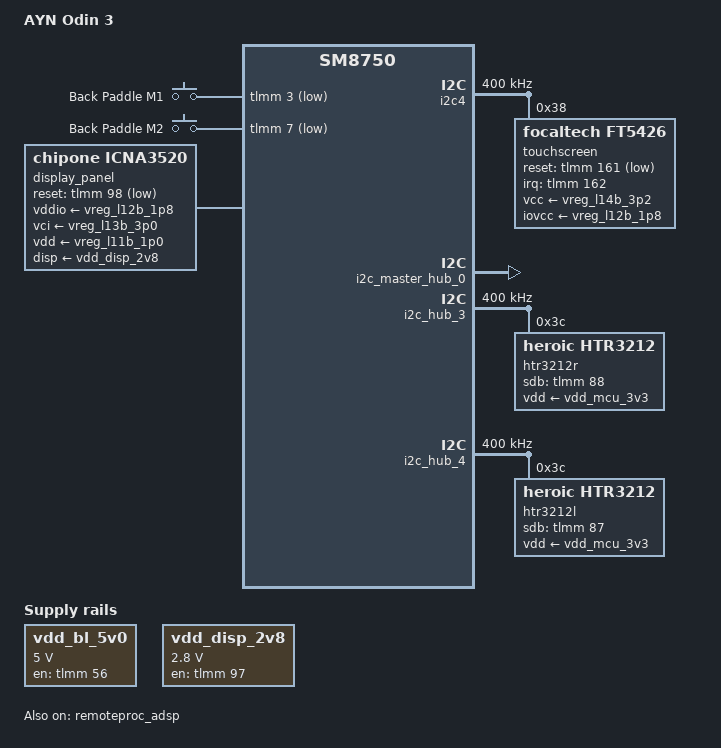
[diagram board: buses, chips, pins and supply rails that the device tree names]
// SPDX-License-Identifier: BSD-3-Clause
/*
 * Copyright (c) 2026 Teguh Sobirin.
 */

/dts-v1/;

#include "cq8725s-ayn-common.dtsi"

/ {
	model = "AYN Odin 3";
	compatible = "ayn,odin3", "qcom,cq8725s", "qcom,sm8750-mtp", "qcom,sm8750";

	vdd_bl_5v0: vdd-bl-5v0-regulator {
		compatible = "regulator-fixed";
		regulator-name = "vdd_bl_5v0";

		regulator-min-microvolt = <5000000>;
		regulator-max-microvolt = <5000000>;

		gpio = <&tlmm 56 GPIO_ACTIVE_HIGH>;
		enable-active-high;
	};

	vdd_disp_2v8: vdd-disp-2v8-regulator {
		compatible = "regulator-fixed";
		regulator-name = "vdd_disp_2v8";

		regulator-min-microvolt = <2800000>;
		regulator-max-microvolt = <2800000>;

		gpio = <&tlmm 97 GPIO_ACTIVE_HIGH>;
		enable-active-high;
	};

	/* Kettle: the stick rings as multicolor LEDs rgb:l1..l4 and rgb:r1..r4 (kettle-ledd), from the
	 * HTR3212 channels below, as qcs8550-ayn-odin2portal.dts does for the same chips and labels.
	 * The ring order is the Portal's; not yet checked on an Odin 3. */
	multi-ledr1 {
		compatible = "leds-group-multicolor";
		color = <LED_COLOR_ID_RGB>;
		function = "r1";
		leds = <&ledr_r4>, <&ledr_g4>, <&ledr_b4>;
	};

	multi-ledl1 {
		compatible = "leds-group-multicolor";
		color = <LED_COLOR_ID_RGB>;
		function = "l1";
		leds = <&ledl_r4>, <&ledl_g4>, <&ledl_b4>;
	};

	multi-ledr2 {
		compatible = "leds-group-multicolor";
		color = <LED_COLOR_ID_RGB>;
		function = "r2";
		leds = <&ledr_r1>, <&ledr_g1>, <&ledr_b1>;
	};

	multi-ledl2 {
		compatible = "leds-group-multicolor";
		color = <LED_COLOR_ID_RGB>;
		function = "l2";
		leds = <&ledl_r1>, <&ledl_g1>, <&ledl_b1>;
	};

	multi-ledr3 {
		compatible = "leds-group-multicolor";
		color = <LED_COLOR_ID_RGB>;
		function = "r3";
		leds = <&ledr_r2>, <&ledr_g2>, <&ledr_b2>;
	};

	multi-ledl3 {
		compatible = "leds-group-multicolor";
		color = <LED_COLOR_ID_RGB>;
		function = "l3";
		leds = <&ledl_r2>, <&ledl_g2>, <&ledl_b2>;
	};

	multi-ledr4 {
		compatible = "leds-group-multicolor";
		color = <LED_COLOR_ID_RGB>;
		function = "r4";
		leds = <&ledr_r3>, <&ledr_g3>, <&ledr_b3>;
	};

	multi-ledl4 {
		compatible = "leds-group-multicolor";
		color = <LED_COLOR_ID_RGB>;
		function = "l4";
		leds = <&ledl_r3>, <&ledl_g3>, <&ledl_b3>;
	};
};

&i2c4 {
	clock-frequency = <400000>;
	status = "okay";

	touchscreen@38 {
		compatible = "focaltech,ft5426";
		reg = <0x38>;
		#address-cells = <1>;
		#size-cells = <0>;

		interrupt-parent = <&tlmm>;
		interrupts = <162 IRQ_TYPE_EDGE_FALLING>;

		reset-gpios = <&tlmm 161 GPIO_ACTIVE_LOW>;

		vcc-supply = <&vreg_l14b_3p2>;
		iovcc-supply = <&vreg_l12b_1p8>;

		pinctrl-0 = <&ts_p_rst_default &ts_p_int_default>;
		pinctrl-1 = <&ts_p_rst_sleep &ts_p_int_sleep>;
		pinctrl-names = "default", "sleep";

		touchscreen-size-x = <1080>;
		touchscreen-size-y = <1920>;
	};
};

&i2c_master_hub_0 {
	status = "okay";
};

&i2c_hub_3 {
	clock-frequency = <400000>;
	status = "okay";
	htr3212r: led-controller@3c {
		compatible = "heroic,htr3212";
		reg = <0x3c>;
		#address-cells = <1>;
		#size-cells = <0>;
		sdb-gpios = <&tlmm 88 GPIO_ACTIVE_HIGH>;
		vdd-supply = <&vdd_mcu_3v3>;

		ledr_b1: led@1 {
			reg = <1>;
			label = "r:r1";
			color = <LED_COLOR_ID_RED>;
		};
		ledr_g1: led@2 {
			reg = <2>;
			label = "r:g1";
			color = <LED_COLOR_ID_GREEN>;
		};
		ledr_r1: led@3 {
			reg = <3>;
			label = "r:b1";
			color = <LED_COLOR_ID_BLUE>;
		};
		ledr_b2: led@4 {
			reg = <4>;
			label = "r:r2";
			color = <LED_COLOR_ID_RED>;
		};
		ledr_g2: led@5 {
			reg = <5>;
			label = "r:g2";
			color = <LED_COLOR_ID_GREEN>;
		};
		ledr_r2: led@6 {
			reg = <6>;
			label = "r:b2";
 			color = <LED_COLOR_ID_BLUE>;
		};
		ledr_b3: led@7 {
			reg = <7>;
			label = "r:r3";
			color = <LED_COLOR_ID_RED>;
		};
		ledr_g3: led@8 {
			reg = <8>;
			label = "r:g3";
			color = <LED_COLOR_ID_GREEN>;
		};
		ledr_r3: led@9 {
			reg = <9>;
			label = "r:b3";
			color = <LED_COLOR_ID_BLUE>;
		};
		ledr_b4: led@10 {
			reg = <10>;
			label = "r:r4";
			color = <LED_COLOR_ID_RED>;
		};
		ledr_g4: led@11 {
			reg = <11>;
			label = "r:g4";
			color = <LED_COLOR_ID_GREEN>;
		};
		ledr_r4: led@12 {
			reg = <12>;
			label = "r:b4";
			color = <LED_COLOR_ID_BLUE>;
		};
	};
};

&i2c_hub_4 {
	clock-frequency = <400000>;
	status = "okay";

	htr3212l: led-controller@3c {
		compatible = "heroic,htr3212";
		reg = <0x3c>;
		#address-cells = <1>;
		#size-cells = <0>;
		sdb-gpios = <&tlmm 87 GPIO_ACTIVE_HIGH>;
		vdd-supply = <&vdd_mcu_3v3>;

		ledl_b1: led@1 {
			reg = <1>;
			label = "l:r1";
			color = <LED_COLOR_ID_RED>;
		};
		ledl_g1: led@2 {
			reg = <2>;
			label = "l:g1";
			color = <LED_COLOR_ID_GREEN>;
		};
		ledl_r1: led@3 {
			reg = <3>;
			label = "l:b1";
			color = <LED_COLOR_ID_BLUE>;
		};
		ledl_b2: led@4 {
			reg = <4>;
			label = "l:r2";
			color = <LED_COLOR_ID_RED>;
		};
		ledl_g2: led@5 {
			reg = <5>;
			label = "l:g2";
			color = <LED_COLOR_ID_GREEN>;
		};
		ledl_r2: led@6 {
			reg = <6>;
			label = "l:b2";
			color = <LED_COLOR_ID_BLUE>;
		};
		ledl_b3: led@7 {
			reg = <7>;
			label = "l:r3";
			color = <LED_COLOR_ID_RED>;
		};
		ledl_g3: led@8 {
			reg = <8>;
			label = "l:g3";
			color = <LED_COLOR_ID_GREEN>;
		};
		ledl_r3: led@9 {
			reg = <9>;
			label = "l:b3";
			color = <LED_COLOR_ID_BLUE>;
		};
		ledl_b4: led@10 {
			reg = <10>;
			label = "l:r4";
			color = <LED_COLOR_ID_RED>;
		};
		ledl_g4: led@11 {
			reg = <11>;
			label = "l:g4";
			color = <LED_COLOR_ID_GREEN>;
		};
		ledl_r4: led@12 {
			reg = <12>;
			label = "l:b4";
			color = <LED_COLOR_ID_BLUE>;
		};
	};
};

&display_panel {
	compatible = "chipone,icna3520";

	reset-gpios = <&tlmm 98 GPIO_ACTIVE_LOW>;

	vddio-supply = <&vreg_l12b_1p8>;
	vci-supply = <&vreg_l13b_3p0>;
	vdd-supply = <&vreg_l11b_1p0>;
	disp-supply = <&vdd_disp_2v8>;
	blvdd-supply = <&vdd_bl_5v0>;

	pinctrl-0 = <&disp0_reset_n_active>, <&mdp_vsync_active>;
	pinctrl-1 = <&disp0_reset_n_suspend>, <&mdp_vsync_suspend>;
	pinctrl-names = "default", "sleep";

	rotation = <90>;
};

&remoteproc_adsp {
	firmware-name = "qcom/sm8750/ayn/odin3/adsp.mbn",
			"qcom/sm8750/ayn/odin3/adsp_dtb.mbn";

	status = "okay";

	/* Kettle: a non-secure ADSP fastrpc device (/dev/fastrpc-adsp), as sm8550.dtsi has, for
	 * hexagonrpcd to serve the sensors process its files (kettle-motion: the gyro). sm8750.dtsi
	 * leaves it secure only (/dev/fastrpc-adsp-secure). */
	glink-edge {
		fastrpc {
			qcom,non-secure-domain;
		};
	};
};

/* Kettle: the CDSP is off, as on the Pocket FIT Elite (whose CDSP firmware crash-looped at every
 * start and starved the system). Nothing Kettle runs uses the compute DSP. */
&remoteproc_cdsp {
	firmware-name = "qcom/sm8750/ayn/odin3/cdsp.mbn",
			"qcom/sm8750/ayn/odin3/cdsp_dtb.mbn";

	status = "disabled";
};

&spk_amp_l {
	firmware-name = "qcom/sm8750/ayn/odin3/aw883xx_acf.bin";
};

&spk_amp_r {
	firmware-name = "qcom/sm8750/ayn/odin3/aw883xx_acf.bin";
};

&tlmm {
	disp0_reset_n_active: disp0-reset-n-active-state {
		pins = "gpio98";
		function = "gpio";
		drive-strength = <8>;
		bias-disable;
	};

	disp0_reset_n_suspend: disp0-reset-n-suspend-state {
		pins = "gpio98";
		function = "gpio";
		drive-strength = <2>;
		bias-pull-down;
	};

	mdp_vsync_active: mdp-vsync-active-state {
		pins = "gpio86";
		function = "mdp_vsync";
		drive-strength = <2>;
		bias-pull-down;
	};

	mdp_vsync_suspend: mdp-vsync-suspend-state {
		pins = "gpio86";
		function = "mdp_vsync";
		drive-strength = <2>;
		bias-pull-down;
	};

	ts_p_rst_default: ts-p-rst-default-state {
		pins = "gpio161";
		function = "gpio";
		bias-pull-up;
		drive-strength = <8>;
	};

	ts_p_rst_sleep: ts-p-rst-sleep-state {
		pins = "gpio161";
		function = "gpio";
		bias-pull-down;
		drive-strength = <2>;
	};

	ts_p_int_default: ts-p-int-default-state {
		pins = "gpio162";
		function = "gpio";
		bias-pull-up;
		drive-strength = <8>;
	};

	ts_p_int_sleep: ts-p-int-sleep-state {
		pins = "gpio162";
		function = "gpio";
		bias-pull-down;
		drive-strength = <2>;
	};

	paddle_keys_default: paddle-keys-default-state {
		pins = "gpio3", "gpio7";
		function = "gpio";
		bias-pull-up;
		drive-strength = <2>;
	};
};

/*
 * AYN Odin 3 has two extra back paddles (M1, M2) below the shoulder
 * triggers. They are plain active-low SoC TLMM GPIOs (M1 = GPIO_3,
 * M2 = GPIO_7), not on the gamepad MCU UART and not ADC (despite AYN's
 * Android "adckey"/keydetect.ko naming). Expose them as a gpio-keys
 * device emitting BTN_Z (M1, left) / BTN_C (M2, right); ROCKNIX's
 * InputPlumber map (ayn_mcu.yaml) already routes BTN_Z -> LeftPaddle1 and
 * BTN_C -> RightPaddle1. RE'd from the AYN Android keydetect driver
 * (gpio_request 515/519 = TLMM base 512 + offsets 3/7).
 */
/ {
	gpio-keys-paddles {
		compatible = "gpio-keys";
		pinctrl-names = "default";
		pinctrl-0 = <&paddle_keys_default>;

		key-paddle-m1 {
			label = "Back Paddle M1";
			linux,code = <BTN_Z>;
			gpios = <&tlmm 3 GPIO_ACTIVE_LOW>;
			debounce-interval = <15>;
		};

		key-paddle-m2 {
			label = "Back Paddle M2";
			linux,code = <BTN_C>;
			gpios = <&tlmm 7 GPIO_ACTIVE_LOW>;
			debounce-interval = <15>;
		};
	};
};

/* The codec keeps these rails enabled through s2idle; idle them in LPM */
&vreg_bob1 {
	regulator-state-mem {
		regulator-on-in-suspend;
		regulator-mode = <RPMH_REGULATOR_MODE_LPM>;
	};
};

&vreg_l15b_1p8 {
	regulator-state-mem {
		regulator-on-in-suspend;
		regulator-mode = <RPMH_REGULATOR_MODE_LPM>;
	};
};

&vreg_l2i_1p2 {
	regulator-state-mem {
		regulator-on-in-suspend;
		regulator-mode = <RPMH_REGULATOR_MODE_LPM>;
	};
};

&vreg_s3g_1p8 {
	regulator-state-mem {
		regulator-on-in-suspend;
		regulator-mode = <RPMH_REGULATOR_MODE_LPM>;
	};
};

&vreg_s7i_1p2 {
	regulator-state-mem {
		regulator-on-in-suspend;
		regulator-mode = <RPMH_REGULATOR_MODE_LPM>;
	};
};

/* Replaces the bootloader's early SoCCP image, which blocks SoC deep sleep */
&remoteproc_soccp {
	firmware-name = "qcom/sm8750/ayn/odin3/soccp.mbn";
};

/* The RGB light on PMIC LPG channels 1-3 (channel 4 is the fan's PWM), Armada's charge LED. Kettle
 * names it power-led, as on the Portal and the Pocket FIT Elite, with no kernel trigger: kettle-ledd
 * is its one writer (Device Settings' Lights tab; its "charging" mode is Armada's trigger) */
&pm8550_pwm {
	multi-led {
		color = <LED_COLOR_ID_RGB>;
		label = "power-led";

		#address-cells = <1>;
		#size-cells = <0>;

		led@1 {
			reg = <1>;
			color = <LED_COLOR_ID_RED>;
		};

		led@2 {
			reg = <2>;
			color = <LED_COLOR_ID_GREEN>;
		};

		led@3 {
			reg = <3>;
			color = <LED_COLOR_ID_BLUE>;
		};
	};
};

/* wcd939x has no DMIC input widget; without one DAPM never powers DMIC3 */
&{/sound} {
	widgets = "Microphone", "Internal Mic";
	audio-routing = "IN1_HPHL", "HPHL_OUT",
			"IN2_HPHR", "HPHR_OUT",
			"AMIC2", "MIC BIAS2",
			"TX SWR_INPUT1", "ADC2_OUTPUT",
			"DMIC3", "Internal Mic",
			"DMIC3", "MIC BIAS3",
			"TX SWR_INPUT6", "DMIC3_OUTPUT";
};

/* ===== Kettle's changes, the same as on the Pocket FIT Elite (sm8750-konkr-pf-elite.dts) ===== */

/*
 * The crypto engine (QCE) has no driver from Linux 7.3 on (CRYPTO_DEV_QCE depends on BROKEN).
 * Left enabled, the node never probes, so the interconnect providers it uses never reach
 * sync_state and keep DDR voted at its maximum: DDR stays at its top clock and the SoC never
 * reaches CX, AOSS or DDR collapse in s2idle (the Pocket FIT Elite also hung in suspend).
 */
&crypto {
	status = "disabled";
};

/* At most 100 MHz (SDR50): at SDR104 the Pocket FIT Elite read cards with I/O errors every few
 * seconds on its first boots. Same SoC and SD controller; to be re-tested at SDR104 here. */
&sdhc_2 {
	max-frequency = <100000000>;
};

/* Linux 7.3 made the SM8750 USB controller a wakeup source; keep 7.2's behaviour */
&usb {
	/delete-property/ wakeup-source;
};

/* No wake-gpios (WAKE#, gpio104 active low): Linux 7.3 arms it as a wakeup IRQ, enabled by
 * default, and nothing here wants Wi-Fi to wake the device */
&pcieport0 {
	/delete-property/ wake-gpios;
};

/* The CoreSight trace network's TNOC off: Kettle builds no CoreSight drivers, and with
 * fw_devlink.strict=1 PCIe (Wi-Fi) once waited on one of its endpoints forever. 40-kettle/1430
 * fixed the cause; this stays as a second guard, as on the Pocket FIT Elite. */
&{/soc@0/tn@109ab000} {
	status = "disabled";
};

#include "cq8725s-ayn-odin3-fan.dtsi"
